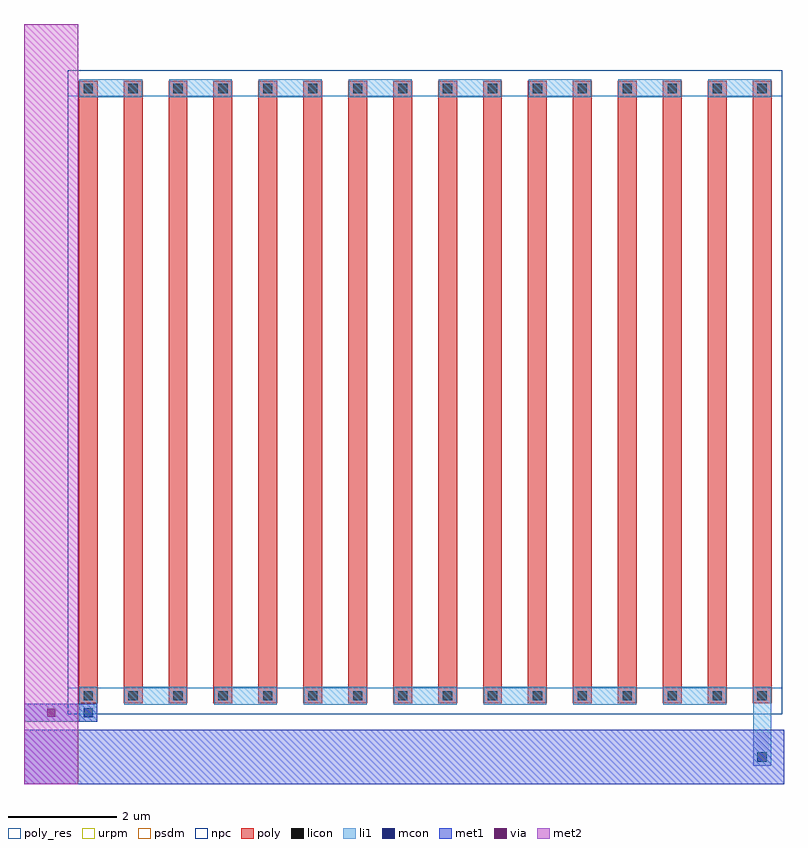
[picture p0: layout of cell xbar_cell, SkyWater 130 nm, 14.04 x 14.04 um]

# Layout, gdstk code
import gdstk
lib = gdstk.Library(unit=1e-6, precision=1e-09)
def R(c, l, rs):  # rectangles x0, y0, x1, y1
    for r in rs: c.add(gdstk.rectangle(r[:2], r[2:], *l))
def A(c, l, x, y, w, h, nx, ny, dx, dy):  # array of equal rectangles
    R(c, l, [(x+i*dx, y+j*dy, x+i*dx+w, y+j*dy+h) for i in range(nx) for j in range(ny)])
poly_res = (66, 13)
poly = (66, 20)
licon = (66, 44)
li1 = (67, 20)
mcon = (67, 44)
met1 = (68, 20)
via = (68, 44)
met2 = (69, 20)
urpm = (79, 20)
psdm = (94, 20)
npc = (95, 20)

xbar_cell = lib.new_cell('xbar_cell')
R(xbar_cell, poly_res, [(0.81,1.77,14.01,12.71)])
A(xbar_cell, poly, 1.01, 1.49, 0.35, 11.5, 16, 1, 0.83, 0)
A(xbar_cell, licon, 1.1, 1.545, 0.17, 0.17, 16, 2, 0.83, 11.22)
A(xbar_cell, li1, 1.85, 1.465, 1.16, 0.33, 7, 1, 1.66, 0)
A(xbar_cell, li1, 1.02, 12.685, 1.16, 0.33, 8, 1, 1.66, 0)
R(xbar_cell, li1, [(13.47,0.335,13.8,1.795), (1.02,1.15,1.35,1.795)])
R(xbar_cell, mcon, [(13.55,0.415,13.72,0.585), (1.1,1.23,1.27,1.4)])
R(xbar_cell, met1, [(0,0,14.04,1), (0,1.15,1.35,1.48)])
R(xbar_cell, via, [(0.425,1.24,0.575,1.39)])
R(xbar_cell, met2, [(0,0,1,14.04)])
R(xbar_cell, urpm, [(0.81,1.29,14.01,13.19)])
R(xbar_cell, psdm, [(0.81,1.29,14.01,13.19)])
R(xbar_cell, npc, [(0.81,1.29,14.01,13.19)])

lib.write_gds('xbar_cell.gds')
